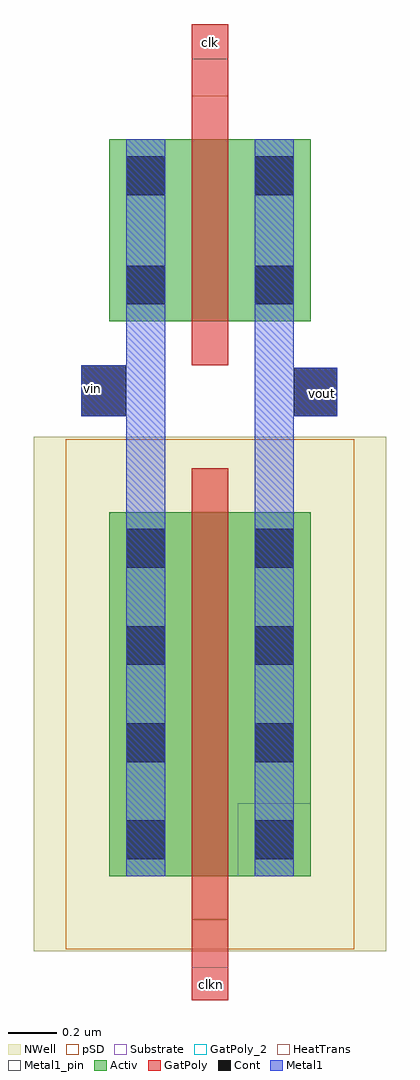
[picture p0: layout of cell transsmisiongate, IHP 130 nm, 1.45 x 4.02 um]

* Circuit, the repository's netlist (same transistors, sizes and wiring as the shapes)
* Extracted by KLayout with SG13G2 LVS runset on : 13/03/2026 17:34

.SUBCKT transmissiongate
M$1 \$3 \$5 \$4 \$1 sg13_lv_nmos L=0.15u W=0.75u AS=0.255p AD=0.255p PS=2.18u
+ PD=2.18u
M$2 \$3 \$6 \$4 \$2 sg13_lv_pmos L=0.15u W=1.5u AS=0.51p AD=0.51p PS=3.68u
+ PD=3.68u
.ENDS transmissiongate

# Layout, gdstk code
import gdstk
lib = gdstk.Library(unit=1e-6, precision=5e-09)
def R(c, l, rs):  # rectangles x0, y0, x1, y1
    for r in rs: c.add(gdstk.rectangle(r[:2], r[2:], *l))
def A(c, l, x, y, w, h, nx, ny, dx, dy):  # array of equal rectangles
    R(c, l, [(x+i*dx, y+j*dy, x+i*dx+w, y+j*dy+h) for i in range(nx) for j in range(ny)])
def P(c, l, *ps):  # polygons
    for p in ps: c.add(gdstk.Polygon(p, *l))
Activ = (1, 0)
GatPoly = (5, 0)
GatPoly_2 = (5, 2)
Cont = (6, 0)
Metal1 = (8, 0)
Metal1_pin = (8, 2)
pSD = (14, 0)
NWell = (31, 0)
Substrate = (40, 0)
HeatTrans = (51, 0)

pmos_1 = lib.new_cell('pmos$1')
R(pmos_1, Activ, [(0,0,0.3,0.3), (0,0,0.83,1.5), (0.53,0,0.83,0.3)])
R(pmos_1, GatPoly, [(0.34,-0.18,0.49,1.68), (0.34,-0.18,0.49,1.68)])
A(pmos_1, Cont, 0.07, 0.07, 0.16, 0.16, 1, 4, 0, 0.4)
A(pmos_1, Cont, 0.6, 0.07, 0.16, 0.16, 1, 4, 0, 0.4)
R(pmos_1, Metal1, [(0.07,0,0.23,1.5), (0.07,0,0.23,1.5), (0.6,0,0.76,1.5), (0.6,0,0.76,1.5)])
R(pmos_1, pSD, [(-0.18,-0.3,1.01,1.8)])
R(pmos_1, NWell, [(-0.31,-0.31,1.14,1.81)])
R(pmos_1, Substrate, [(0.53,0,0.83,0.3)])
R(pmos_1, HeatTrans, [(0.34,-0.18,0.49,1.68)])
pmos_1.add(gdstk.Label('pmos', (0.415,0.75), layer=63, texttype=0))
pmos_1.add(gdstk.Label('pmos', (0.415,0.75), layer=51, texttype=0))

nmos_1 = lib.new_cell('nmos$1')
R(nmos_1, Activ, [(0,0,0.3,0.3), (0,0,0.83,0.75), (0.53,0,0.83,0.3)])
R(nmos_1, GatPoly, [(0.34,-0.18,0.49,0.93)])
R(nmos_1, GatPoly_2, [(0.34,-0.18,0.49,0.93)])
R(nmos_1, Cont, [(0.07,0.07,0.23,0.23), (0.6,0.07,0.76,0.23), (0.07,0.52,0.23,0.68), (0.6,0.52,0.76,0.68)])
R(nmos_1, Metal1, [(0.07,0,0.23,0.75), (0.6,0,0.76,0.75)])
R(nmos_1, Metal1_pin, [(0.07,0,0.23,0.75), (0.6,0,0.76,0.75)])
R(nmos_1, HeatTrans, [(0.34,-0.18,0.49,0.93)])
nmos_1.add(gdstk.Label('nmos', (0.415,0.375), layer=63, texttype=0))
nmos_1.add(gdstk.Label('nmos', (0.415,0.375), layer=51, texttype=0))

transsmisiongate = lib.new_cell('transsmisiongate')
R(transsmisiongate, GatPoly, [(-0.095,-2.405,0.055,-2.075), (-0.095,1.32,0.055,1.615)])
R(transsmisiongate, GatPoly_2, [(-0.095,-2.405,0.055,-2.27), (-0.095,1.47,0.055,1.615)])
R(transsmisiongate, Cont, [(-0.55,0,-0.365,0.21), (0.325,0,0.505,0.2)])
P(transsmisiongate, Metal1, [(-0.365,-0.395),(-0.365,0),(-0.55,0),(-0.55,0.21),(-0.365,0.21),(-0.365,0.39),(-0.205,0.39),(-0.205,-0.395)],
  [(0.165,-0.395),(0.165,0.39),(0.325,0.39),(0.325,0.2),(0.505,0.2),(0.505,0),(0.325,0),(0.325,-0.395)])
R(transsmisiongate, Metal1_pin, [(-0.55,0,-0.365,0.21), (0.325,0,0.505,0.2)])
transsmisiongate.add(gdstk.Reference(pmos_1, (-0.435,-1.895)))
transsmisiongate.add(gdstk.Reference(nmos_1, (-0.435,0.39)))
transsmisiongate.add(gdstk.Label('vout', (0.445,0.095), layer=8, texttype=2))
transsmisiongate.add(gdstk.Label('vin', (-0.505,0.115), layer=8, texttype=2))
transsmisiongate.add(gdstk.Label('clkn', (-0.015,-2.34), layer=5, texttype=2))
transsmisiongate.add(gdstk.Label('clk', (-0.02,1.54), layer=5, texttype=2))

lib.write_gds('transsmisiongate.gds')
